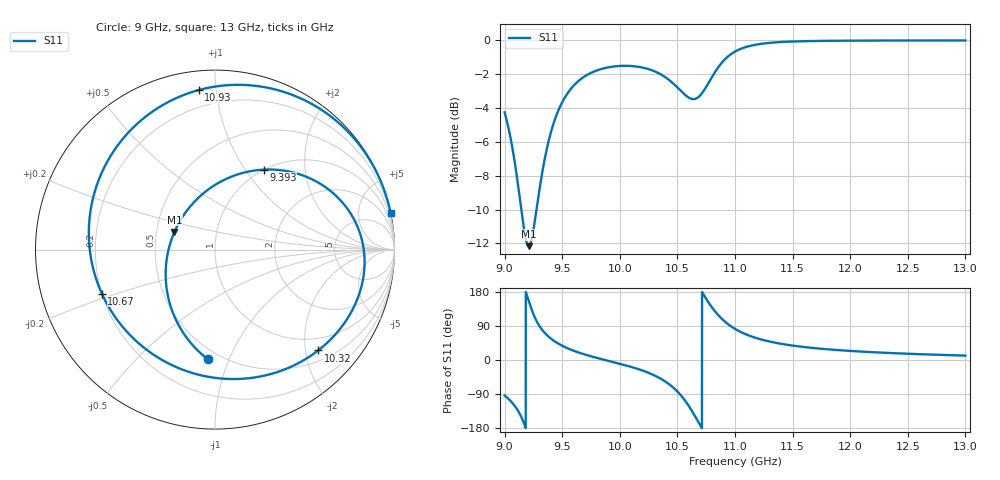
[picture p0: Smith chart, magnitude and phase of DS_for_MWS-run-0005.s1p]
! TOUCHSTONE file generated by CST DESIGN STUDIO
! Date and time: Tue Feb  4 14:40:40 2025
! Project name: C:\Work\MatlabApps\UnitCellOptimizationMatlab\CST\unitcell.cst
! Tree item: Tasks\Sweep1\SPara1\S-Parameters
! Header version: 2024
! Port assignment regex: !\s*Touchstone port\s*([0-9]+)\s*=\s*(CST MWS port|CST DES external port|CST DES block port)\s*(.+)\s* \(\"(.*)\"\)(\s*mode\s*([0-9]+))?.*
! Touchstone port assignment:
! Touchstone port 1 = CST DES external port 1 ("")
# GHz S MA R 50
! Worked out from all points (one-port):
!   4001 points, 9 GHz to 13 GHz, reference 50 ohm
!   lowest |S11| = -12.2 dB at 9.209 GHz (marker M1), VSWR 1.65, Z = 31 + j6.46 ohm
!   |S11| at or under -10 dB: 9.145 GHz to 9.277 GHz (132.1 MHz wide, 1.43 % of centre)
!   S11 on the Smith chart (normalised r, x): 9 GHz: 0.43, -0.84; 9.393 GHz: 1.00, +1.22; 10.32 GHz: 0.71, -2.26; 10.67 GHz: 0.20, -0.18; 10.93 GHz: 0.10, +0.90; 13 GHz: 0.01, +9.84
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9  0.6129 -93.7
9.053  0.5117 -108.5
9.118  0.3709 -134.8
9.209  0.2465 156.6
9.3  0.3576 90.7
9.393  0.5215 58.7
9.5  0.6567 37.7
9.601  0.7363 24.3
9.717  0.7912 12.7
10  0.8406 -9.9
10.181  0.8335 -26.1
10.325  0.8038 -44.3
10.416  0.7695 -61.1
10.5  0.7263 -83.1
10.589  0.6809 -116.8
10.63  0.6711 -136.4
10.673  0.6764 -158.7
10.723  0.7054 174.9
10.774  0.753 150.1
10.852  0.831 119.3
10.934  0.8935 95.9
11  0.9268 82.1
11.096  0.9565 67.6
11.206  0.9748 56.0
11.5  0.9926 38.1
12  0.9985 23.9
12.5  0.9995 16.5
13  0.9999 11.6
